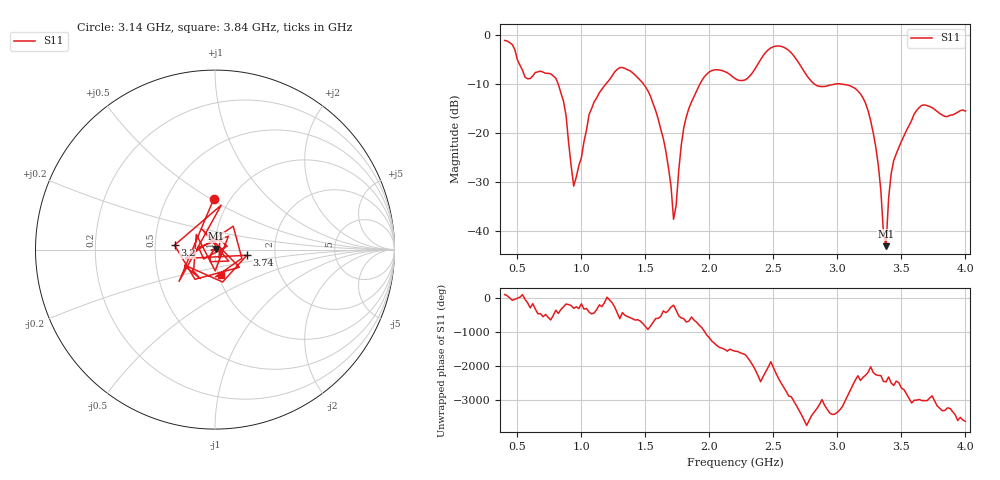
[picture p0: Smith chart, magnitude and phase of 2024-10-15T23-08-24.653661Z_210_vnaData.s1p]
! Created with skrf (http://scikit-rf.org).
# Hz S RI R 50.0
!freq ReS11 ImS11
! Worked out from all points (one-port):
!   181 points, 400 MHz to 4 GHz, reference 50 ohm
!   lowest |S11| = -43.1 dB at 3.38 GHz (marker M1), VSWR 1.01, Z = 50.5 + j0.462 ohm
!   |S11| at or under -10 dB: 817.9 MHz to 1.193 GHz (375.3 MHz wide, 37.3 % of centre); 1.483 GHz to 1.927 GHz (444.2 MHz wide, 26 % of centre); 2.817 GHz to end of sweep
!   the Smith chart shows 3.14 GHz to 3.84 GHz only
!   S11 on the Smith chart (normalised r, x): 3.14 GHz: 0.84, +0.52; 3.2 GHz: 0.63, +0.03; 3.74 GHz: 1.43, -0.09; 3.84 GHz: 1.02, -0.30
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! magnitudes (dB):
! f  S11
! 400 MHz  -1.2
! 560 MHz  -8.7
! 760 MHz  -8.0
! 860 MHz  -13.6
! 940 MHz  -30.8
! 1.06 GHz  -16.2
! 1.3 GHz  -6.7
! 1.48 GHz  -9.9
! 1.58 GHz  -15.5
! 1.66 GHz  -23.8
! 1.72 GHz  -37.6
! 1.76 GHz  -27.8
! 1.82 GHz  -16.7
! 1.94 GHz  -9.4
! 2.2 GHz  -8.9
! 2.5 GHz  -2.5
! 2.66 GHz  -4.3
! 2.84 GHz  -10.4
! 3.1 GHz  -10.4
! 3.14 GHz  -11.0
! 3.2 GHz  -12.9
! 3.3 GHz  -22.9
! 3.38 GHz  -43.1
! 3.42 GHz  -28.4
! 3.56 GHz  -18.5
! 3.74 GHz  -14.9
! 3.84 GHz  -16.7
! 4 GHz  -15.6
